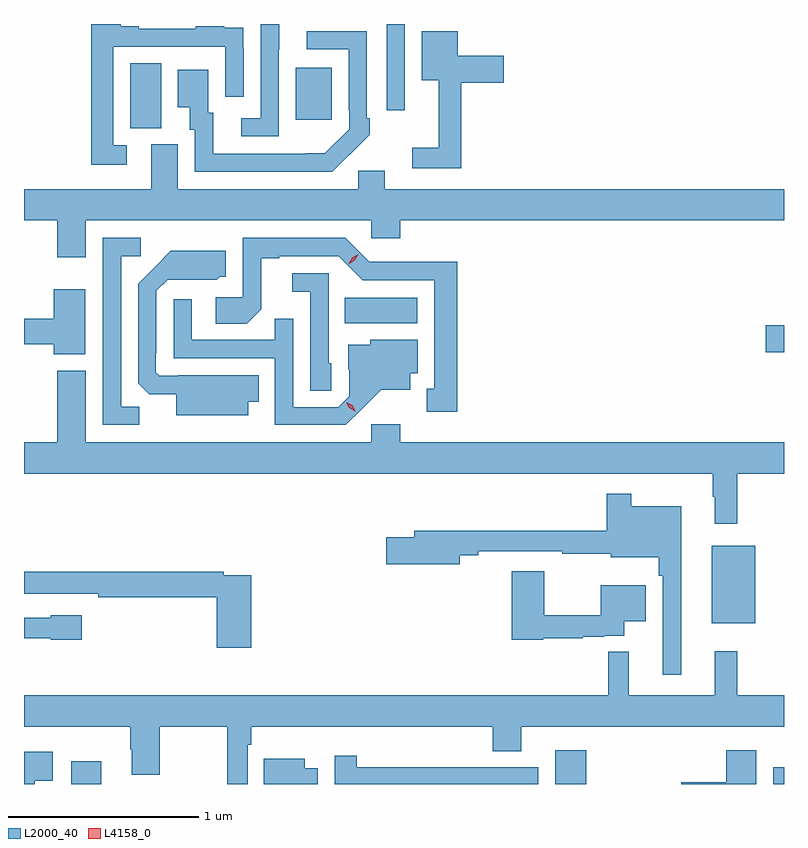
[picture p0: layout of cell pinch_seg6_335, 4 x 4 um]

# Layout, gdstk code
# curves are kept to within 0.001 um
import gdstk
lib = gdstk.Library(unit=1e-6, precision=1e-09)
def R(c, l, rs):  # rectangles x0, y0, x1, y1
    for r in rs: c.add(gdstk.rectangle(r[:2], r[2:], *l))
def P(c, l, *ps):  # polygons
    for p in ps: c.add(gdstk.Polygon(p, *l))
L2000_40 = (2000, 40)
L4158_0 = (4158, 0)

pinch_seg6_335 = lib.new_cell('pinch_seg6_335')
R(pinch_seg6_335, L2000_40, [(748.427,939.042,748.585,939.163), (750.974,939.042,751.138,939.22), (752.121,939.042,752.178,939.129), (751.799,939.887,752.026,940.297), (752.082,941.314,752.178,941.456), (749.866,941.468,750.247,941.602), (748.736,942.493,748.9,942.836), (749.609,942.537,749.797,942.811)])
P(pinch_seg6_335, L2000_40, [(750.183,943.042),(750.086,943.042),(750.087,943.041),(750.087,942.588),(750.183,942.588)],
  [(749.52,942.907),(749.521,942.907),(749.521,943.042),(749.424,943.042),(749.424,942.546),(749.322,942.546),(749.322,942.45),(749.52,942.45)],
  [(748.72,942.405),(748.647,942.405),(748.647,942.921),(749.238,942.921),(749.238,942.66),(749.334,942.66),(749.334,942.914),(749.333,942.914),(749.333,943.023),(749.231,943.023),(749.231,943.03),(749.083,943.03),(749.083,943.017),(748.783,943.017),(748.783,943.03),(748.687,943.03),(748.687,943.042),(748.531,943.042),(748.531,942.3),(748.72,942.3)],
  [(749.891,942.355),(749.892,942.354),(749.997,942.459),(749.997,942.547),(749.982,942.547),(749.982,943.005),(749.667,943.005),(749.667,942.909),(749.886,942.909),(749.886,942.589),(749.889,942.589),(749.889,942.489),(749.761,942.361),(749.173,942.36),(749.173,942.576),(749.149,942.576),(749.149,942.802),(748.988,942.802),(748.988,942.605),(749.051,942.605),(749.051,942.486),(749.076,942.486),(749.076,942.264),(749.8,942.264)],
  [(750.479,942.734),(750.703,942.734),(750.703,942.876),(750.46,942.876),(750.46,943.003),(750.272,943.003),(750.272,942.746),(750.362,942.746),(750.362,942.391),(750.222,942.391),(750.222,942.282),(750.479,942.282)],
  [(748.504,942.008),(750.006,942.008),(750.006,941.915),(750.158,941.915),(750.158,942.008),(752.178,942.008),(752.178,942.172),(750.076,942.172),(750.076,942.27),(749.937,942.27),(749.937,942.172),(748.987,942.172),(748.987,942.408),(748.847,942.408),(748.847,942.172),(748.178,942.172),(748.178,942.008),(748.352,942.008),(748.352,941.814),(748.504,941.814)],
  [(748.785,941.027),(748.689,941.027),(748.689,941.82),(748.792,941.82),(748.792,941.916),(748.593,941.916),(748.593,940.932),(748.785,940.932)],
  [(750.457,941.792),(750.216,941.792),(750.216,941.79),(749.994,941.79),(749.868,941.916),(749.328,941.916),(749.328,941.604),(749.187,941.604),(749.187,941.464),(749.351,941.464),(749.427,941.54),(749.427,941.808),(749.521,941.808),(749.521,941.82),(749.835,941.82),(749.961,941.694),(750.338,941.694),(750.338,941.121),(750.299,941.121),(750.299,941.001),(750.457,941.001)],
  [(749.359,941.054),(749.414,941.054),(749.414,941.194),(748.99,941.194),(748.99,941.19),(748.89,941.19),(748.872,941.208),(748.872,941.308),(748.875,941.308),(748.875,941.637),(748.935,941.697),(749.192,941.696),(749.208,941.712),(749.239,941.712),(749.239,941.848),(748.951,941.848),(748.779,941.674),(748.779,941.152),(748.838,941.093),(748.979,941.093),(748.979,940.982),(749.359,940.982)],
  [(749.796,941.256),(749.781,941.256),(749.781,941.73),(749.589,941.73),(749.589,941.633),(749.685,941.633),(749.685,941.113),(749.796,941.113)],
  [(748.501,941.647),(748.334,941.647),(748.334,941.492),(748.178,941.492),(748.178,941.356),(748.334,941.356),(748.334,941.303),(748.501,941.303)],
  [(749.956,941.015),(750.059,941.117),(750.211,941.117),(750.211,941.204),(750.25,941.204),(750.25,941.38),(750,941.38),(750,941.353),(749.885,941.353),(749.885,941.224),(749.889,941.224),(749.889,941.082),(749.832,941.025),(749.595,941.025),(749.595,941.492),(749.497,941.492),(749.497,941.379),(749.061,941.379),(749.061,941.593),(748.965,941.593),(748.965,941.283),(749.499,941.283),(749.499,940.932),(749.872,940.932)],
  [(751.931,940.676),(752.178,940.676),(752.178,940.84),(750.158,940.84),(750.158,940.936),(750.006,940.936),(750.006,940.84),(748.504,940.84),(748.504,941.218),(748.352,941.218),(748.352,940.84),(748.178,940.84),(748.178,940.676),(751.803,940.676),(751.803,940.553),(751.814,940.553),(751.814,940.413),(751.931,940.413)],
  [(751.636,940.504),(751.375,940.504),(751.375,940.57),(751.246,940.57),(751.246,940.375),(750.233,940.375),(750.233,940.341),(750.084,940.341),(750.084,940.199),(750.472,940.199),(750.472,940.246),(750.568,940.246),(750.568,940.266),(751.012,940.266),(751.012,940.254),(751.265,940.254),(751.265,940.235),(751.519,940.235),(751.519,940.139),(751.539,940.139),(751.539,939.618),(751.636,939.618)],
  [(750.912,939.81),(751.118,939.81),(751.118,939.816),(751.232,939.816),(751.232,939.822),(751.336,939.822),(751.336,939.899),(751.45,939.899),(751.45,940.087),(751.214,940.087),(751.214,939.931),(750.916,939.931),(750.916,940.162),(750.746,940.162),(750.746,939.802),(750.912,939.802)],
  [(749.375,940.14),(749.228,940.14),(749.228,940.16),(748.178,940.16),(748.178,940.044),(748.57,940.044),(748.57,940.024),(749.192,940.024),(749.192,939.759),(749.375,939.759)],
  [(748.483,939.931),(748.32,939.931),(748.32,939.918),(748.178,939.918),(748.178,939.81),(748.32,939.81),(748.32,939.802),(748.483,939.802)],
  [(752.178,939.508),(751.931,939.508),(751.931,939.742),(751.814,939.742),(751.814,939.508),(751.361,939.508),(751.361,939.737),(751.252,939.737),(751.252,939.508),(748.178,939.508),(748.178,939.344),(748.738,939.344),(748.738,939.224),(748.745,939.224),(748.745,939.092),(748.893,939.092),(748.893,939.344),(749.247,939.344),(749.247,939.042),(749.355,939.042),(749.355,939.248),(749.375,939.248),(749.375,939.344),(750.644,939.344),(750.644,939.214),(750.796,939.214),(750.796,939.344),(752.178,939.344)],
  [(752.032,939.22),(751.874,939.22),(751.874,939.051),(751.638,939.051),(751.638,939.042),(752.032,939.042)],
  [(748.234,939.059),(748.33,939.059),(748.33,939.211),(748.178,939.211),(748.178,939.042),(748.234,939.042)],
  [(750.885,939.129),(750.56,939.129),(750.56,939.131),(749.93,939.131),(749.93,939.19),(749.814,939.19),(749.814,939.042),(750.885,939.042)],
  [(749.725,939.124),(749.656,939.124),(749.656,939.175),(749.44,939.175),(749.44,939.042),(749.725,939.042)])
P(pinch_seg6_335, L4158_0, [(749.888,941.78),(749.888,941.78),(749.906,941.813),(749.938,941.831),(749.938,941.831),(749.938,941.831),(749.92,941.799),(749.889,941.78)],
  [(749.922,941.005),(749.891,941.021),(749.874,941.05),(749.874,941.05),(749.874,941.05),(749.905,941.035),(749.922,941.006),(749.922,941.005)])

lib.write_gds('pinch_seg6_335.gds')
